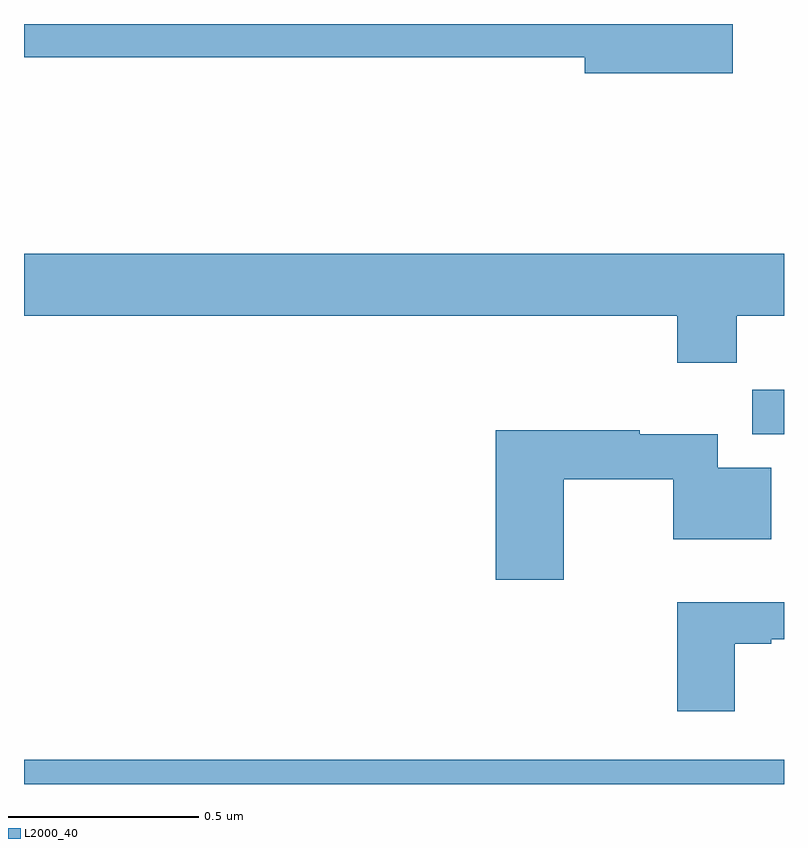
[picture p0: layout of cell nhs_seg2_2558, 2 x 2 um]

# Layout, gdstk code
import gdstk
lib = gdstk.Library(unit=1e-6, precision=1e-09)
def R(c, l, rs):  # rectangles x0, y0, x1, y1
    for r in rs: c.add(gdstk.rectangle(r[:2], r[2:], *l))
def P(c, l, *ps):  # polygons
    for p in ps: c.add(gdstk.Polygon(p, *l))
L2000_40 = (2000, 40)

nhs_seg2_2558 = lib.new_cell('nhs_seg2_2558')
R(nhs_seg2_2558, L2000_40, [(143,583.8,145,583.864), (144.916,584.72,145,584.838)])
P(nhs_seg2_2558, L2000_40, [(144.865,585.8),(143,585.8),(143,585.712),(144.476,585.712),(144.476,585.67),(144.865,585.67)],
  [(144.875,585.032),(145,585.032),(145,585.196),(143,585.196),(143,585.032),(144.719,585.032),(144.719,584.908),(144.875,584.908)],
  [(144.42,584.602),(144.709,584.602),(144.709,584.444),(144.967,584.444),(144.967,584.632),(144.826,584.632),(144.826,584.72),(144.62,584.72),(144.62,584.731),(144.242,584.731),(144.242,584.337),(144.42,584.337)],
  [(144.871,584.169),(144.967,584.169),(144.967,584.181),(145,584.181),(145,584.278),(144.719,584.278),(144.719,583.992),(144.871,583.992)])

lib.write_gds('nhs_seg2_2558.gds')
